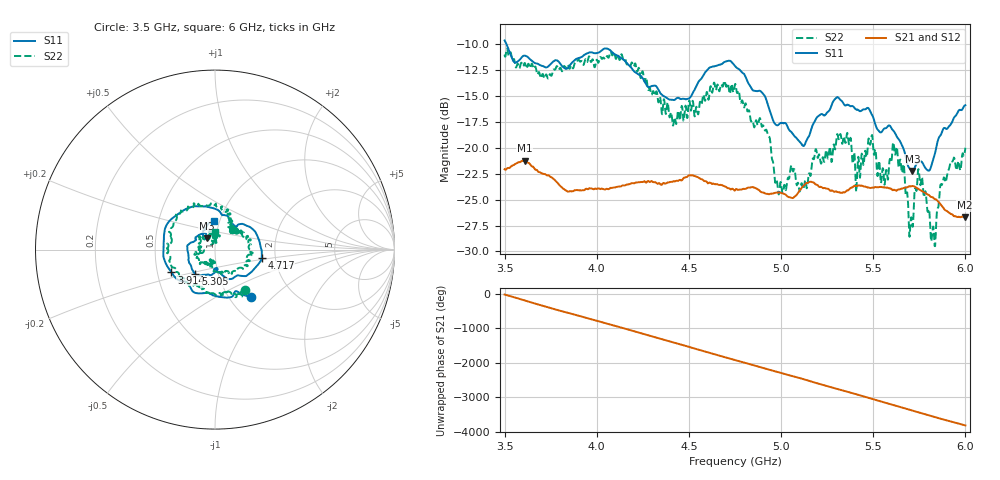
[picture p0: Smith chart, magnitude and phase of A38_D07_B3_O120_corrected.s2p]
! Created with skrf 1.9.0 (http://scikit-rf.org).
# Hz S RI R 50.0
!freq ReS11 ImS11 ReS21 ImS21 ReS12 ImS12 ReS22 ImS22
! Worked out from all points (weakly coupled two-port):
!   1601 points, 3.5 GHz to 6 GHz, reference 50 ohm
!   highest |S21| = -21.25 dB at 3.609 GHz (marker M1); lowest = -26.7 dB at 5.995 GHz (marker M2)
!   lowest |S11| = -22.2 dB at 5.713 GHz (marker M3), VSWR 1.17, Z = 45.2 + j5.63 ohm
!   |S11| at or under -10 dB: 3.511 GHz to end of sweep
!   |S22| runs from -29.5 to -10.4 dB; largest |S21 - S12| = 0.00096
!   S11 on the Smith chart (normalised r, x): 3.5 GHz: 1.26, -0.74; 3.914 GHz: 0.59, -0.16; 4.717 GHz: 1.69, -0.17; 5.305 GHz: 0.78, -0.22; 6 GHz: 0.94, +0.31
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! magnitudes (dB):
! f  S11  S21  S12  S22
! 3.5 GHz  -9.6  -22.1  -22.0  -11.0
! 3.609 GHz  -11.1  -21.2  -21.3  -11.8
! 3.914 GHz  -11.2  -24.1  -24.1  -11.6
! 3.917 GHz  -11.2  -24.1  -24.1  -11.6
! 4.142 GHz  -11.4  -23.6  -23.6  -11.4
! 4.334 GHz  -14.4  -23.4  -23.4  -15.6
! 4.422 GHz  -15.4  -23.2  -23.2  -17.1
! 4.717 GHz  -11.6  -23.9  -24.0  -14.4
! 4.75 GHz  -12.1  -24.1  -24.0  -13.8
! 4.928 GHz  -15.8  -24.4  -24.4  -18.7
! 4.98 GHz  -17.8  -24.3  -24.3  -23.5
! 5.167 GHz  -18.0  -23.3  -23.3  -21.5
! 5.305 GHz  -15.1  -24.3  -24.2  -18.7
! 5.416 GHz  -16.3  -23.7  -23.7  -21.4
! 5.584 GHz  -17.8  -23.9  -23.9  -22.1
! 5.619 GHz  -18.6  -24.1  -24.1  -20.7
! 5.713 GHz  -22.2  -23.7  -23.6  -27.6
! 5.753 GHz  -21.3  -24.1  -24.0  -23.2
! 5.827 GHz  -21.0  -24.8  -24.8  -27.7
! 5.873 GHz  -18.4  -25.6  -25.6  -23.5
! 5.995 GHz  -15.9  -26.7  -26.6  -20.6
! 6 GHz  -15.9  -26.7  -26.7  -20.0
